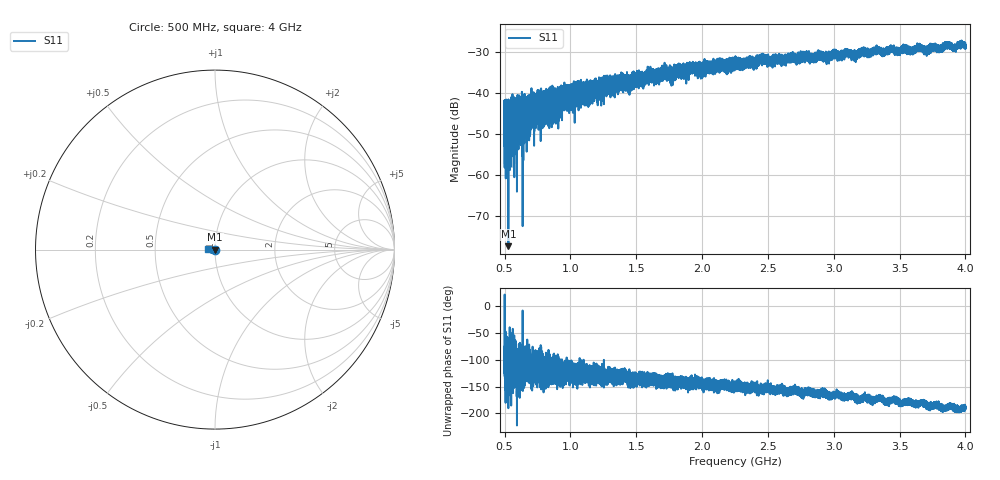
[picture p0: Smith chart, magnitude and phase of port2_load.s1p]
!Agilent Technologies,E8363C,MY49030273,A.09.42.18
!Agilent E8363C: A.09.42.18
!Date: Tuesday, May 03, 2022 03:57:34
!Correction: S22(Full 2 Port(1,2))
!S1P File: Measurement: S22:
# Hz S  dB  R 50
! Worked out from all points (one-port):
!   32001 points, 500 MHz to 4 GHz, reference 50 ohm
!   lowest |S11| = -77.4 dB at 528.4 MHz (marker M1), VSWR 1.00, Z = 50 + j0.0024 ohm
!   |S11| at or under -10 dB: start of sweep to end of sweep
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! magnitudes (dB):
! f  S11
! 500 MHz  -46.3
! 528.4 MHz  -77.4
! 568.5 MHz  -42.8
! 733.5 MHz  -41.5
! 794.9 MHz  -44.5
! 937.5 MHz  -39.9
! 1.375 GHz  -36.9
! 1.443 GHz  -37.7
! 1.599 GHz  -35.9
! 1.661 GHz  -35.0
! 1.812 GHz  -33.5
! 2.25 GHz  -31.9
! 2.408 GHz  -33.3
! 2.457 GHz  -31.5
! 2.621 GHz  -31.5
! 2.688 GHz  -32.0
! 2.838 GHz  -31.2
! 3.125 GHz  -30.7
! 3.161 GHz  -30.7
! 3.318 GHz  -29.8
! 3.376 GHz  -29.4
! 3.429 GHz  -29.2
! 3.486 GHz  -29.9
! 3.562 GHz  -29.2
! 3.648 GHz  -28.6
! 3.704 GHz  -29.9
! 3.97 GHz  -27.9
! 4 GHz  -29.2
